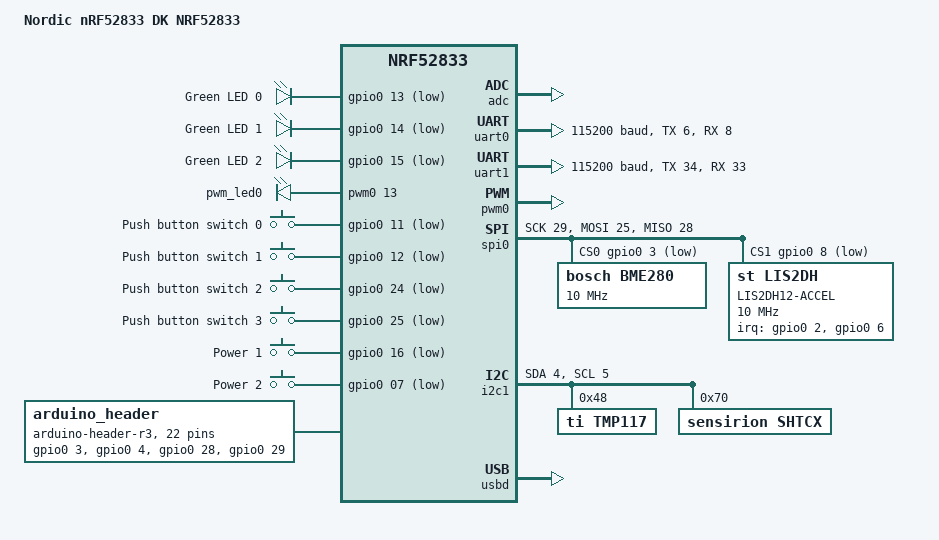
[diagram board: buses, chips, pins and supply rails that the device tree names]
/*
 * Copyright (c) 2019 Nordic Semiconductor ASA
 *
 * SPDX-License-Identifier: Apache-2.0
 */

/dts-v1/;
#include <nordic/nrf52833_qiaa.dtsi>

/ {
	model = "Nordic nRF52833 DK NRF52833";
	compatible = "nordic,nrf52833-dk-nrf52833";

	chosen {
		zephyr,console = &uart0;
		zephyr,shell-uart = &uart0;
		zephyr,uart-mcumgr = &uart0;
		zephyr,bt-mon-uart = &uart0;
		zephyr,bt-c2h-uart = &uart0;
		zephyr,sram = &sram0;
		zephyr,flash = &flash0;
		zephyr,code-partition = &slot0_partition;
	};

	leds {
		compatible = "gpio-leds";
		led0: led_0 {
			gpios = <&gpio0 13 GPIO_ACTIVE_LOW>;
			label = "Green LED 0";
		};
		led1: led_1 {
			gpios = <&gpio0 14 GPIO_ACTIVE_LOW>;
			label = "Green LED 1";
		};
		led2: led_2 {
			gpios = <&gpio0 15 GPIO_ACTIVE_LOW>;
			label = "Green LED 2";
		};
	};

	pwmleds {
		compatible = "pwm-leds";
		pwm_led0: pwm_led_0 {
			pwms = <&pwm0 13>;
		};
	};

	buttons {
		compatible = "gpio-keys";
		button0: button_0 {
			gpios = <&gpio0 11 (GPIO_PULL_UP | GPIO_ACTIVE_LOW)>;
			label = "Push button switch 0";
		};
		button1: button_1 {
			gpios = <&gpio0 12 (GPIO_PULL_UP | GPIO_ACTIVE_LOW)>;
			label = "Push button switch 1";
		};
		button2: button_2 {
			gpios = <&gpio0 24 (GPIO_PULL_UP | GPIO_ACTIVE_LOW)>;
			label = "Push button switch 2";
		};
		button3: button_3 {
			gpios = <&gpio0 25 (GPIO_PULL_UP | GPIO_ACTIVE_LOW)>;
			label = "Push button switch 3";
		};
	};

	sensor_power {
		compatible = "gpio-keys";
								
		snp1: sensor_power_1 {
			gpios = <&gpio0 16 GPIO_ACTIVE_LOW>;
			label = "Power 1";
		};
		snp2: sensor_power_2 {
			gpios = <&gpio0 07 GPIO_ACTIVE_LOW>;
			label = "Power 2";
		};
	};

	arduino_header: connector {
		compatible = "arduino-header-r3";
		#gpio-cells = <2>;
		gpio-map-mask = <0xffffffff 0xffffffc0>;
		gpio-map-pass-thru = <0 0x3f>;
		gpio-map = <0 0 &gpio0 3 0>,	/* A0 */
			   <1 0 &gpio0 4 0>,	/* A1 */
			   <2 0 &gpio0 28 0>,	/* A2 */
			   <3 0 &gpio0 29 0>,	/* A3 */
			   <4 0 &gpio0 30 0>,	/* A4 */
			   <5 0 &gpio0 31 0>,	/* A5 */
			   <6 0 &gpio1 1 0>,	/* D0 */
			   <7 0 &gpio1 2 0>,	/* D1 */
			   <8 0 &gpio1 3 0>,	/* D2 */
			   <9 0 &gpio1 4 0>,	/* D3 */
			   <10 0 &gpio1 5 0>,	/* D4 */
			   <11 0 &gpio1 6 0>,	/* D5 */
			   <12 0 &gpio1 7 0>,	/* D6 */
			   <13 0 &gpio1 8 0>,	/* D7 */
			   <14 0 &gpio0 17 0>,	/* D8 */
			   <15 0 &gpio0 19 0>,	/* D9 */
			   <16 0 &gpio0 20 0>,	/* D10 */
			   <17 0 &gpio0 21 0>,	/* D11 */
			   <18 0 &gpio0 22 0>,	/* D12 */
			   <19 0 &gpio0 23 0>,	/* D13 */
			   <20 0 &gpio0 26 0>,	/* D14 */
			   <21 0 &gpio0 27 0>;	/* D15 */
	};

	/* These aliases are provided for compatibility with samples */
	aliases {
		led0 = &led0;
		led1 = &led1;
		led2 = &led2;
		
		pwm-led0 = &pwm_led0;
		sw0 = &button0;
		sw1 = &button1;
		sw2 = &button2;
		sw3 = &button3;
		bootloader-led0 = &led0;
		usbd0 = &usbd;
		
		snp1 = &snp1;
		snp2 = &snp2;		
		};
};

&adc {
	status = "okay";
};

&gpiote {
	status = "okay";
};

&gpio0 {
	status = "okay";
};

&gpio1 {
	status = "okay";
};

&uart0 {
	compatible = "nordic,nrf-uarte";
	status = "okay";
	current-speed = <115200>;
	tx-pin = <6>;
	rx-pin = <8>;
	rts-pin = <5>;
	cts-pin = <7>;
};

arduino_serial: &uart1 {
	status = "okay";
	current-speed = <115200>;
	rx-pin = <33>;
	tx-pin = <34>;
};




&pwm0 {
	status = "okay";
	ch0-pin = <13>;
	ch0-inverted;
};

&spi0 {
	compatible = "nordic,nrf-spi";
	status = "okay";
	sck-pin = <29>;
	mosi-pin = <25>;
	miso-pin = <28>;
	cs-gpios = <&gpio0 3 GPIO_ACTIVE_LOW>, <&gpio0 8 GPIO_ACTIVE_LOW>;

	bme280@0 {
		compatible = "bosch,bme280";
		reg = <0>;
		spi-max-frequency = <10000000>;
		label= "BME280";
	};

	lis2dh12: lis2dh12@1 {
		compatible = "st,lis2dh", "st,lis2dh12";
		reg = <1>;
		spi-max-frequency = <10000000>;
		irq-gpios =  <&gpio0 2 GPIO_ACTIVE_HIGH>, <&gpio0 6 GPIO_ACTIVE_HIGH>;
		label = "LIS2DH12-ACCEL";
	};
};

&i2c1 {
	compatible = "nordic,nrf-twi";
	status = "okay";
	sda-pin = <4>; // RuuviTag Revision b8
	scl-pin = <5>;
		ti_tmp117: ti_tmp117@48 {
		compatible = "ti,tmp117";
		reg = <0x48>;
		label = "TMP117";
		//alert-gpios = <&gpio0 16 GPIO_ACTIVE_HIGH>;
	};

		sensirion_shtcx: shtcx@70 {
		compatible = "sensirion,shtcx";
		reg = <0x70>;
		label = "SHTCX";
                chip = "shtc3";
                measure-mode = "normal";
	};
	
		
};


&flash0 {

	partitions {
		compatible = "fixed-partitions";
		#address-cells = <1>;
		#size-cells = <1>;

		boot_partition: partition@0 {
			label = "mcuboot";
			reg = <0x000000000 0xC000>;
		};
		slot0_partition: partition@c000 {
			label = "image-0";
			reg = <0x0000C000 0x32000>;
		};
		slot1_partition: partition@3e000 {
			label = "image-1";
			reg = <0x0003E000 0x32000>;
		};
		scratch_partition: partition@70000 {
			label = "image-scratch";
			reg = <0x00070000 0xA000>;
		};
		storage_partition: partition@7a000 {
			label = "storage";
			reg = <0x0007A000 0x00006000>;
		};
	};
};

&usbd {
	compatible = "nordic,nrf-usbd";
	status = "okay";
};
